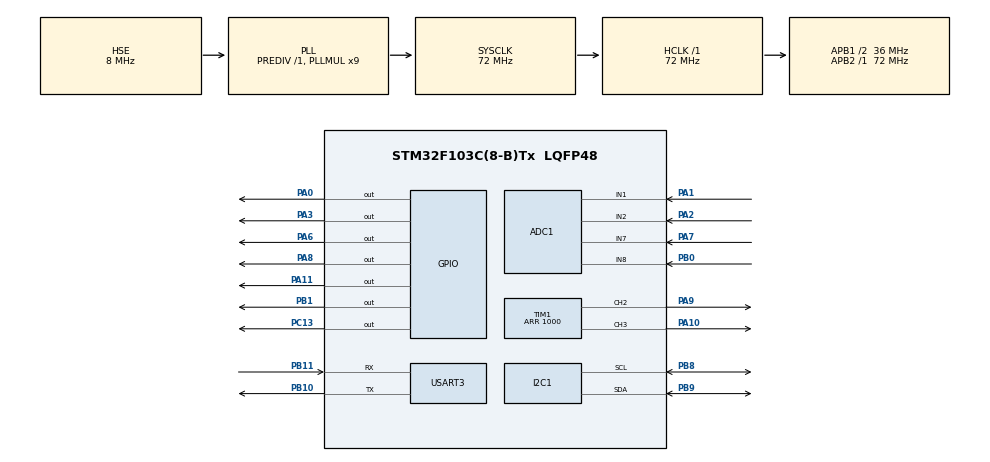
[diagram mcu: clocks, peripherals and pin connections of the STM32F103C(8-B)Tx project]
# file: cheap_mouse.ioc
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ADC1.Channel-0\#ChannelRegularConversion=ADC_CHANNEL_1
ADC1.Channel-1\#ChannelRegularConversion=ADC_CHANNEL_2
ADC1.Channel-2\#ChannelRegularConversion=ADC_CHANNEL_7
ADC1.Channel-3\#ChannelRegularConversion=ADC_CHANNEL_8
ADC1.ContinuousConvMode=ENABLE
ADC1.EnableAnalogWatchDog=false
ADC1.NbrOfConversion=4
ADC1.NbrOfConversionFlag=1
ADC1.Rank-0\#ChannelRegularConversion=1
ADC1.Rank-1\#ChannelRegularConversion=2
ADC1.Rank-2\#ChannelRegularConversion=3
ADC1.Rank-3\#ChannelRegularConversion=4
ADC1.SamplingTime-0\#ChannelRegularConversion=ADC_SAMPLETIME_239CYCLES_5
ADC1.SamplingTime-1\#ChannelRegularConversion=ADC_SAMPLETIME_239CYCLES_5
ADC1.SamplingTime-2\#ChannelRegularConversion=ADC_SAMPLETIME_239CYCLES_5
ADC1.SamplingTime-3\#ChannelRegularConversion=ADC_SAMPLETIME_239CYCLES_5
ADC1.master=1
Dma.ADC1.0.Direction=DMA_PERIPH_TO_MEMORY
Dma.ADC1.0.Instance=DMA1_Channel1
Dma.ADC1.0.MemDataAlignment=DMA_MDATAALIGN_WORD
Dma.ADC1.0.MemInc=DMA_MINC_ENABLE
Dma.ADC1.0.Mode=DMA_CIRCULAR
Dma.ADC1.0.PeriphDataAlignment=DMA_PDATAALIGN_WORD
Dma.ADC1.0.PeriphInc=DMA_PINC_DISABLE
Dma.ADC1.0.Priority=DMA_PRIORITY_LOW
Dma.Request0=ADC1
Mcu.Family=STM32F1
Mcu.Name=STM32F103C(8-B)Tx
Mcu.Package=LQFP48
NVIC.ADC1_2_IRQn=true\:0\:0\:false\:false\:true\:true\:true
NVIC.DMA1_Channel1_IRQn=true\:0\:0\:false\:false\:true\:false\:true
NVIC.PriorityGroup=NVIC_PRIORITYGROUP_4
NVIC.TIM4_IRQn=true\:0\:0\:false\:false\:true\:true\:true
PA0-WKUP.Signal=GPIO_Output
PA1.Signal=ADCx_IN1
PA10.Signal=S_TIM1_CH3
PA11.Signal=GPIO_Output
PA13.Mode=Serial_Wire
PA13.Signal=SYS_JTMS-SWDIO
PA14.Mode=Serial_Wire
PA14.Signal=SYS_JTCK-SWCLK
PA2.Signal=ADCx_IN2
PA3.Signal=GPIO_Output
PA6.Signal=GPIO_Output
PA7.Signal=ADCx_IN7
PA8.Signal=GPIO_Output
PA9.Signal=S_TIM1_CH2
PB0.Signal=ADCx_IN8
PB1.Signal=GPIO_Output
PB10.Mode=Asynchronous
PB10.Signal=USART3_TX
PB11.Mode=Asynchronous
PB11.Signal=USART3_RX
PB8.Mode=I2C
PB8.Signal=I2C1_SCL
PB9.Mode=I2C
PB9.Signal=I2C1_SDA
PC13-TAMPER-RTC.Signal=GPIO_Output
PD0-OSC_IN.Mode=HSE-External-Oscillator
PD0-OSC_IN.Signal=RCC_OSC_IN
PD1-OSC_OUT.Mode=HSE-External-Oscillator
PD1-OSC_OUT.Signal=RCC_OSC_OUT
ProjectManager.HeapSize=0x200
ProjectManager.StackSize=0x400
ProjectManager.TargetToolchain=STM32CubeIDE
RCC.ADCPresc=RCC_ADCPCLK2_DIV6
RCC.AHBFreq_Value=72000000
RCC.APB1CLKDivider=RCC_HCLK_DIV2
RCC.APB1Freq_Value=36000000
RCC.APB1TimFreq_Value=72000000
RCC.APB2Freq_Value=72000000
RCC.APB2TimFreq_Value=72000000
RCC.HCLKFreq_Value=72000000
RCC.PLLMUL=RCC_PLL_MUL9
RCC.PLLSourceVirtual=RCC_PLLSOURCE_HSE
RCC.SYSCLKFreq_VALUE=72000000
RCC.SYSCLKSource=RCC_SYSCLKSOURCE_PLLCLK
RCC.USBFreq_Value=72000000
SH.ADCx_IN1.0=ADC1_IN1,IN1
SH.ADCx_IN2.0=ADC1_IN2,IN2
SH.ADCx_IN7.0=ADC1_IN7,IN7
SH.ADCx_IN8.0=ADC1_IN8,IN8
SH.S_TIM1_CH2.0=TIM1_CH2,PWM Generation2 CH2
SH.S_TIM1_CH3.0=TIM1_CH3,PWM Generation3 CH3
TIM1.Channel-PWM\ Generation2\ CH2=TIM_CHANNEL_2
TIM1.Channel-PWM\ Generation3\ CH3=TIM_CHANNEL_3
TIM1.Period=1000
TIM4.Prescaler=71
USART3.VirtualMode=VM_ASYNC
VP_TIM1_VS_ClockSourceINT.Mode=Internal
VP_TIM4_VS_ClockSourceINT.Mode=Internal
board=custom

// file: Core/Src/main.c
/* USER CODE BEGIN Header */
/**
  ******************************************************************************
  * @file           : main.c
  * @brief          : Main program body
  ******************************************************************************
  * @attention
  *
  * <h2><center>&copy; Copyright (c) 2021 STMicroelectronics.
  * All rights reserved.</center></h2>
  *
  * This software component is licensed by ST under BSD 3-Clause license,
  * the "License"; You may not use this file except in compliance with the
  * License. You may obtain a copy of the License at:
  *                        opensource.org/licenses/BSD-3-Clause
  *
  ******************************************************************************
  */
/* USER CODE END Header */
#include "main.h"

/* USER CODE BEGIN Includes */
#include "mpu9250.hpp"
#include "print_func.hpp"
#include "PID.h"
/* USER CODE END Includes */

ADC_HandleTypeDef hadc1;
DMA_HandleTypeDef hdma_adc1;

I2C_HandleTypeDef hi2c1;

TIM_HandleTypeDef htim1;
TIM_HandleTypeDef htim4;

UART_HandleTypeDef huart3;

void SystemClock_Config(void);
static void MX_GPIO_Init(void);
static void MX_DMA_Init(void);
static void MX_ADC1_Init(void);
static void MX_I2C1_Init(void);
static void MX_TIM1_Init(void);
static void MX_USART3_UART_Init(void);
static void MX_TIM4_Init(void);

/* USER CODE BEGIN 0 */
IMU_data imu_data;
uint32_t value[4];
float set_point = 0;
int velocity = 0;
float yaw, yaw_com, yaw_offset, yaw_gyro = 0;

void HAL_ADC_ConvCpltCallback(ADC_HandleTypeDef* hadc)
{
  /* Prevent unused argument(s) compilation warning */
	if(hadc->Instance == hadc1.Instance){
		value[0] = HAL_ADC_GetValue(&hadc1);
	}
}

void HAL_TIM_PeriodElapsedCallback(TIM_HandleTypeDef *htim)
{

  /* USER CODE BEGIN Callback 1 */
  if (htim->Instance == TIM4) {
  		   imu_data = process_MPU(0,0);
  	       yaw_gyro += 0.01*imu_data.Gyro_z;
  	       if(value[2] >  3500){
           PID(set_point, yaw_gyro, velocity);
  	       }
  	       else{
  	    	 PID(set_point, yaw_gyro, 0);
  	       }
    }
  /* USER CODE END Callback 1 */
}

/* USER CODE END 0 */

int main(void)
{

  /* MCU Configuration--------------------------------------------------------*/

  /* Reset of all peripherals, Initializes the Flash interface and the Systick. */
  HAL_Init();

  /* Configure the system clock */
  SystemClock_Config();

  /* Initialize all configured peripherals */
  MX_GPIO_Init();
  MX_DMA_Init();
  MX_ADC1_Init();
  MX_I2C1_Init();
  MX_TIM1_Init();
  MX_USART3_UART_Init();
  MX_TIM4_Init();
  /* USER CODE BEGIN 2 */
  init_MPU();
  calibration_IMU();
  HAL_TIM_PWM_Start(&htim1, TIM_CHANNEL_2);
  HAL_TIM_PWM_Start(&htim1, TIM_CHANNEL_3);
  HAL_TIM_Base_Start_IT(&htim4);

  HAL_ADC_Start_DMA(&hadc1, value, 4); // start adc in DMA mode

  velocity = 600;

  HAL_Delay(1000);

  velocity = 0;
  /* USER CODE END 2 */

  /* Infinite loop */
  while (1)
  {

    /* USER CODE BEGIN 3 */
//	  HAL_GPIO_WritePin(GPIOC, GPIO_PIN_13, GPIO_PIN_SET);
////	  HAL_Delay(100);
////
////	   imu_data = process_MPU(0,0);

//   for(int i = 500; i < 550; i+= 10){
//	  Motor2(i);
//	  Motor1(i);
////	  HAL_Delay(100);
//   }

//	  HAL_GPIO_WritePin(GPIOA, GPIO_PIN_0, GPIO_PIN_RESET);
//	  HAL_GPIO_WritePin(GPIOA, GPIO_PIN_3, GPIO_PIN_RESET);
//	  HAL_GPIO_WritePin(GPIOA, GPIO_PIN_6, GPIO_PIN_RESET);
//	  HAL_GPIO_WritePin(GPIOB, GPIO_PIN_1, GPIO_PIN_RESET);
  }
  /* USER CODE END 3 */
}

void SystemClock_Config(void)
{
  RCC_OscInitTypeDef RCC_OscInitStruct = {0};
  RCC_ClkInitTypeDef RCC_ClkInitStruct = {0};
  RCC_PeriphCLKInitTypeDef PeriphClkInit = {0};

  /** Initializes the RCC Oscillators according to the specified parameters
  * in the RCC_OscInitTypeDef structure.
  */
  RCC_OscInitStruct.OscillatorType = RCC_OSCILLATORTYPE_HSE;
  RCC_OscInitStruct.HSEState = RCC_HSE_ON;
  RCC_OscInitStruct.HSEPredivValue = RCC_HSE_PREDIV_DIV1;
  RCC_OscInitStruct.HSIState = RCC_HSI_ON;
  RCC_OscInitStruct.PLL.PLLState = RCC_PLL_ON;
  RCC_OscInitStruct.PLL.PLLSource = RCC_PLLSOURCE_HSE;
  RCC_OscInitStruct.PLL.PLLMUL = RCC_PLL_MUL9;
  if (HAL_RCC_OscConfig(&RCC_OscInitStruct) != HAL_OK)
  {
    Error_Handler();
  }
  /** Initializes the CPU, AHB and APB buses clocks
  */
  RCC_ClkInitStruct.ClockType = RCC_CLOCKTYPE_HCLK|RCC_CLOCKTYPE_SYSCLK
                              |RCC_CLOCKTYPE_PCLK1|RCC_CLOCKTYPE_PCLK2;
  RCC_ClkInitStruct.SYSCLKSource = RCC_SYSCLKSOURCE_PLLCLK;
  RCC_ClkInitStruct.AHBCLKDivider = RCC_SYSCLK_DIV1;
  RCC_ClkInitStruct.APB1CLKDivider = RCC_HCLK_DIV2;
  RCC_ClkInitStruct.APB2CLKDivider = RCC_HCLK_DIV1;

  if (HAL_RCC_ClockConfig(&RCC_ClkInitStruct, FLASH_LATENCY_2) != HAL_OK)
  {
    Error_Handler();
  }
  PeriphClkInit.PeriphClockSelection = RCC_PERIPHCLK_ADC;
  PeriphClkInit.AdcClockSelection = RCC_ADCPCLK2_DIV6;
  if (HAL_RCCEx_PeriphCLKConfig(&PeriphClkInit) != HAL_OK)
  {
    Error_Handler();
  }
}

static void MX_ADC1_Init(void)
{

  ADC_ChannelConfTypeDef sConfig = {0};

  /** Common config
  */
  hadc1.Instance = ADC1;
  hadc1.Init.ScanConvMode = ADC_SCAN_ENABLE;
  hadc1.Init.ContinuousConvMode = ENABLE;
  hadc1.Init.DiscontinuousConvMode = DISABLE;
  hadc1.Init.ExternalTrigConv = ADC_SOFTWARE_START;
  hadc1.Init.DataAlign = ADC_DATAALIGN_RIGHT;
  hadc1.Init.NbrOfConversion = 4;
  if (HAL_ADC_Init(&hadc1) != HAL_OK)
  {
    Error_Handler();
  }
  /** Configure Regular Channel
  */
  sConfig.Channel = ADC_CHANNEL_1;
  sConfig.Rank = ADC_REGULAR_RANK_1;
  sConfig.SamplingTime = ADC_SAMPLETIME_239CYCLES_5;
  if (HAL_ADC_ConfigChannel(&hadc1, &sConfig) != HAL_OK)
  {
    Error_Handler();
  }
  /** Configure Regular Channel
  */
  sConfig.Channel = ADC_CHANNEL_2;
  sConfig.Rank = ADC_REGULAR_RANK_2;
  if (HAL_ADC_ConfigChannel(&hadc1, &sConfig) != HAL_OK)
  {
    Error_Handler();
  }
  /** Configure Regular Channel
  */
  sConfig.Channel = ADC_CHANNEL_7;
  sConfig.Rank = ADC_REGULAR_RANK_3;
  if (HAL_ADC_ConfigChannel(&hadc1, &sConfig) != HAL_OK)
  {
    Error_Handler();
  }
  /** Configure Regular Channel
  */
  sConfig.Channel = ADC_CHANNEL_8;
  sConfig.Rank = ADC_REGULAR_RANK_4;
  if (HAL_ADC_ConfigChannel(&hadc1, &sConfig) != HAL_OK)
  {
    Error_Handler();
  }

}

static void MX_I2C1_Init(void)
{

  hi2c1.Instance = I2C1;
  hi2c1.Init.ClockSpeed = 100000;
  hi2c1.Init.DutyCycle = I2C_DUTYCYCLE_2;
  hi2c1.Init.OwnAddress1 = 0;
  hi2c1.Init.AddressingMode = I2C_ADDRESSINGMODE_7BIT;
  hi2c1.Init.DualAddressMode = I2C_DUALADDRESS_DISABLE;
  hi2c1.Init.OwnAddress2 = 0;
  hi2c1.Init.GeneralCallMode = I2C_GENERALCALL_DISABLE;
  hi2c1.Init.NoStretchMode = I2C_NOSTRETCH_DISABLE;
  if (HAL_I2C_Init(&hi2c1) != HAL_OK)
  {
    Error_Handler();
  }

}

static void MX_TIM1_Init(void)
{

  TIM_ClockConfigTypeDef sClockSourceConfig = {0};
  TIM_MasterConfigTypeDef sMasterConfig = {0};
  TIM_OC_InitTypeDef sConfigOC = {0};
  TIM_BreakDeadTimeConfigTypeDef sBreakDeadTimeConfig = {0};

  htim1.Instance = TIM1;
  htim1.Init.Prescaler = 0;
  htim1.Init.CounterMode = TIM_COUNTERMODE_UP;
  htim1.Init.Period = 1000;
  htim1.Init.ClockDivision = TIM_CLOCKDIVISION_DIV1;
  htim1.Init.RepetitionCounter = 0;
  htim1.Init.AutoReloadPreload = TIM_AUTORELOAD_PRELOAD_DISABLE;
  if (HAL_TIM_Base_Init(&htim1) != HAL_OK)
  {
    Error_Handler();
  }
  sClockSourceConfig.ClockSource = TIM_CLOCKSOURCE_INTERNAL;
  if (HAL_TIM_ConfigClockSource(&htim1, &sClockSourceConfig) != HAL_OK)
  {
    Error_Handler();
  }
  if (HAL_TIM_PWM_Init(&htim1) != HAL_OK)
  {
    Error_Handler();
  }
  sMasterConfig.MasterOutputTrigger = TIM_TRGO_RESET;
  sMasterConfig.MasterSlaveMode = TIM_MASTERSLAVEMODE_DISABLE;
  if (HAL_TIMEx_MasterConfigSynchronization(&htim1, &sMasterConfig) != HAL_OK)
  {
    Error_Handler();
  }
  sConfigOC.OCMode = TIM_OCMODE_PWM1;
  sConfigOC.Pulse = 0;
  sConfigOC.OCPolarity = TIM_OCPOLARITY_HIGH;
  sConfigOC.OCNPolarity = TIM_OCNPOLARITY_HIGH;
  sConfigOC.OCFastMode = TIM_OCFAST_DISABLE;
  sConfigOC.OCIdleState = TIM_OCIDLESTATE_RESET;
  sConfigOC.OCNIdleState = TIM_OCNIDLESTATE_RESET;
  if (HAL_TIM_PWM_ConfigChannel(&htim1, &sConfigOC, TIM_CHANNEL_2) != HAL_OK)
  {
    Error_Handler();
  }
  if (HAL_TIM_PWM_ConfigChannel(&htim1, &sConfigOC, TIM_CHANNEL_3) != HAL_OK)
  {
    Error_Handler();
  }
  sBreakDeadTimeConfig.OffStateRunMode = TIM_OSSR_DISABLE;
  sBreakDeadTimeConfig.OffStateIDLEMode = TIM_OSSI_DISABLE;
  sBreakDeadTimeConfig.LockLevel = TIM_LOCKLEVEL_OFF;
  sBreakDeadTimeConfig.DeadTime = 0;
  sBreakDeadTimeConfig.BreakState = TIM_BREAK_DISABLE;
  sBreakDeadTimeConfig.BreakPolarity = TIM_BREAKPOLARITY_HIGH;
  sBreakDeadTimeConfig.AutomaticOutput = TIM_AUTOMATICOUTPUT_DISABLE;
  if (HAL_TIMEx_ConfigBreakDeadTime(&htim1, &sBreakDeadTimeConfig) != HAL_OK)
  {
    Error_Handler();
  }
  HAL_TIM_MspPostInit(&htim1);

}

static void MX_TIM4_Init(void)
{

  TIM_ClockConfigTypeDef sClockSourceConfig = {0};
  TIM_MasterConfigTypeDef sMasterConfig = {0};

  htim4.Instance = TIM4;
  htim4.Init.Prescaler = 71;
  htim4.Init.CounterMode = TIM_COUNTERMODE_UP;
  htim4.Init.Period = 65535;
  htim4.Init.ClockDivision = TIM_CLOCKDIVISION_DIV1;
  htim4.Init.AutoReloadPreload = TIM_AUTORELOAD_PRELOAD_DISABLE;
  if (HAL_TIM_Base_Init(&htim4) != HAL_OK)
  {
    Error_Handler();
  }
  sClockSourceConfig.ClockSource = TIM_CLOCKSOURCE_INTERNAL;
  if (HAL_TIM_ConfigClockSource(&htim4, &sClockSourceConfig) != HAL_OK)
  {
    Error_Handler();
  }
  sMasterConfig.MasterOutputTrigger = TIM_TRGO_RESET;
  sMasterConfig.MasterSlaveMode = TIM_MASTERSLAVEMODE_DISABLE;
  if (HAL_TIMEx_MasterConfigSynchronization(&htim4, &sMasterConfig) != HAL_OK)
  {
    Error_Handler();
  }

}

static void MX_USART3_UART_Init(void)
{

  huart3.Instance = USART3;
  huart3.Init.BaudRate = 115200;
  huart3.Init.WordLength = UART_WORDLENGTH_8B;
  huart3.Init.StopBits = UART_STOPBITS_1;
  huart3.Init.Parity = UART_PARITY_NONE;
  huart3.Init.Mode = UART_MODE_TX_RX;
  huart3.Init.HwFlowCtl = UART_HWCONTROL_NONE;
  huart3.Init.OverSampling = UART_OVERSAMPLING_16;
  if (HAL_UART_Init(&huart3) != HAL_OK)
  {
    Error_Handler();
  }

}

static void MX_DMA_Init(void)
{

  /* DMA controller clock enable */
  __HAL_RCC_DMA1_CLK_ENABLE();

  /* DMA interrupt init */
  /* DMA1_Channel1_IRQn interrupt configuration */
  HAL_NVIC_SetPriority(DMA1_Channel1_IRQn, 0, 0);
  HAL_NVIC_EnableIRQ(DMA1_Channel1_IRQn);

}

static void MX_GPIO_Init(void)
{
  GPIO_InitTypeDef GPIO_InitStruct = {0};

  /* GPIO Ports Clock Enable */
  __HAL_RCC_GPIOC_CLK_ENABLE();
  __HAL_RCC_GPIOD_CLK_ENABLE();
  __HAL_RCC_GPIOA_CLK_ENABLE();
  __HAL_RCC_GPIOB_CLK_ENABLE();

  /*Configure GPIO pin Output Level */
  HAL_GPIO_WritePin(GPIOC, GPIO_PIN_13, GPIO_PIN_RESET);

  /*Configure GPIO pin Output Level */
  HAL_GPIO_WritePin(GPIOA, GPIO_PIN_0|GPIO_PIN_3|GPIO_PIN_6|GPIO_PIN_8
                          |GPIO_PIN_11, GPIO_PIN_RESET);

  /*Configure GPIO pin Output Level */
  HAL_GPIO_WritePin(GPIOB, GPIO_PIN_1, GPIO_PIN_RESET);

  /*Configure GPIO pin : PC13 */
  GPIO_InitStruct.Pin = GPIO_PIN_13;
  GPIO_InitStruct.Mode = GPIO_MODE_OUTPUT_PP;
  GPIO_InitStruct.Pull = GPIO_NOPULL;
  GPIO_InitStruct.Speed = GPIO_SPEED_FREQ_LOW;
  HAL_GPIO_Init(GPIOC, &GPIO_InitStruct);

  /*Configure GPIO pins : PA0 PA3 PA6 PA8
                           PA11 */
  GPIO_InitStruct.Pin = GPIO_PIN_0|GPIO_PIN_3|GPIO_PIN_6|GPIO_PIN_8
                          |GPIO_PIN_11;
  GPIO_InitStruct.Mode = GPIO_MODE_OUTPUT_PP;
  GPIO_InitStruct.Pull = GPIO_NOPULL;
  GPIO_InitStruct.Speed = GPIO_SPEED_FREQ_LOW;
  HAL_GPIO_Init(GPIOA, &GPIO_InitStruct);

  /*Configure GPIO pin : PB1 */
  GPIO_InitStruct.Pin = GPIO_PIN_1;
  GPIO_InitStruct.Mode = GPIO_MODE_OUTPUT_PP;
  GPIO_InitStruct.Pull = GPIO_NOPULL;
  GPIO_InitStruct.Speed = GPIO_SPEED_FREQ_LOW;
  HAL_GPIO_Init(GPIOB, &GPIO_InitStruct);

}

void Error_Handler(void)
{
}

/************************ (C) COPYRIGHT STMicroelectronics *****END OF FILE****/
